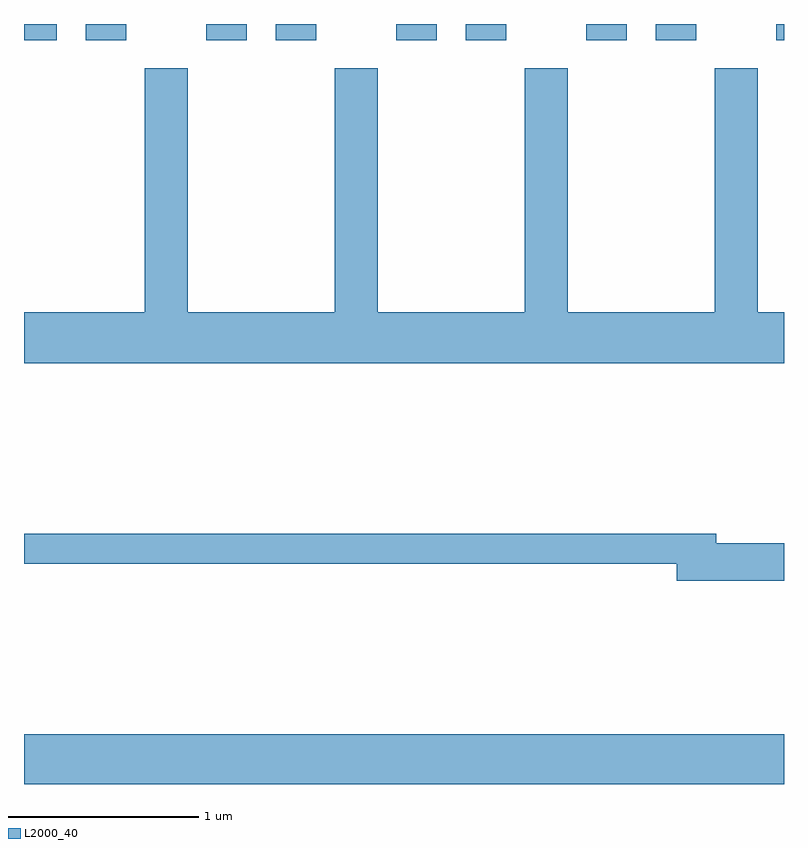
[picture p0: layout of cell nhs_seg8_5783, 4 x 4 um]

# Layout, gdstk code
import gdstk
lib = gdstk.Library(unit=1e-6, precision=1e-09)
def R(c, l, rs):  # rectangles x0, y0, x1, y1
    for r in rs: c.add(gdstk.rectangle(r[:2], r[2:], *l))
def P(c, l, *ps):  # polygons
    for p in ps: c.add(gdstk.Polygon(p, *l))
L2000_40 = (2000, 40)

nhs_seg8_5783 = lib.new_cell('nhs_seg8_5783')
R(nhs_seg8_5783, L2000_40, [(357.611,1916.342,361.611,1916.604), (357.611,1920.256,357.784,1920.342), (357.936,1920.256,358.149,1920.342), (358.571,1920.256,358.784,1920.342), (358.936,1920.256,359.149,1920.342), (359.571,1920.256,359.784,1920.342), (359.936,1920.256,360.149,1920.342), (360.571,1920.256,360.784,1920.342), (360.936,1920.256,361.149,1920.342), (361.571,1920.256,361.611,1920.342)])
P(nhs_seg8_5783, L2000_40, [(361.611,1918.824),(361.474,1918.824),(361.474,1920.109),(361.246,1920.109),(361.246,1918.824),(360.474,1918.824),(360.474,1920.109),(360.246,1920.109),(360.246,1918.824),(359.474,1918.824),(359.474,1920.109),(359.246,1920.109),(359.246,1918.824),(358.474,1918.824),(358.474,1920.109),(358.246,1920.109),(358.246,1918.824),(357.611,1918.824),(357.611,1918.556),(361.611,1918.556)],
  [(361.611,1917.609),(361.254,1917.609),(361.254,1917.659),(357.611,1917.659),(357.611,1917.501),(361.046,1917.501),(361.046,1917.411),(361.611,1917.411)])

lib.write_gds('nhs_seg8_5783.gds')
